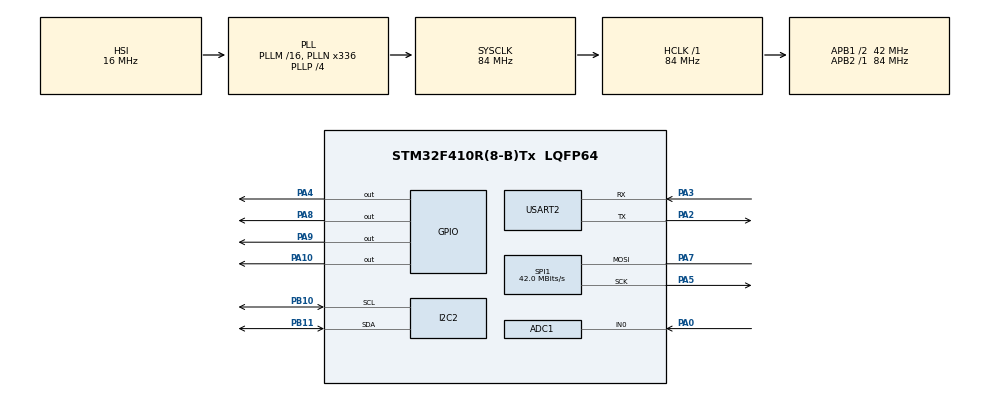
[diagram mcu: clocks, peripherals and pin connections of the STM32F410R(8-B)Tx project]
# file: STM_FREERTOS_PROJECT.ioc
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ADC1.Channel-0\#ChannelRegularConversion=ADC_CHANNEL_0
ADC1.NbrOfConversionFlag=1
ADC1.Rank-0\#ChannelRegularConversion=1
ADC1.SamplingTime-0\#ChannelRegularConversion=ADC_SAMPLETIME_3CYCLES
ADC1.master=1
FREERTOS.Tasks01=defaultTask,24,128,StartDefaultTask,Default,NULL,Dynamic,NULL,NULL
FREERTOS.configTOTAL_HEAP_SIZE=8192
FREERTOS.configUSE_NEWLIB_REENTRANT=1
Mcu.Family=STM32F4
Mcu.Name=STM32F410R(8-B)Tx
Mcu.Package=LQFP64
NVIC.PriorityGroup=NVIC_PRIORITYGROUP_4
NVIC.TIM6_DAC_IRQn=true\:15\:0\:false\:false\:true\:false\:false\:true\:true
NVIC.TimeBase=TIM6_DAC_IRQn
NVIC.TimeBaseIP=TIM6
PA0-WKUP.Signal=ADCx_IN0
PA10.Signal=GPIO_Output
PA13.GPIO_Label=TMS
PA13.Mode=Serial_Wire
PA13.Signal=SYS_JTMS-SWDIO
PA14.GPIO_Label=TCK
PA14.Mode=Serial_Wire
PA14.Signal=SYS_JTCK-SWCLK
PA2.Mode=Asynchronous
PA2.Signal=USART2_TX
PA3.Mode=Asynchronous
PA3.Signal=USART2_RX
PA4.Signal=GPIO_Output
PA5.Mode=Simplex_Bidirectional_Master
PA5.Signal=SPI1_SCK
PA6.Signal=SPI1_MISO
PA7.Mode=Simplex_Bidirectional_Master
PA7.Signal=SPI1_MOSI
PA8.Signal=GPIO_Output
PA9.Signal=GPIO_Output
PB10.Mode=I2C
PB10.Signal=I2C2_SCL
PB11.Mode=I2C
PB11.Signal=I2C2_SDA
PB3.GPIO_Label=SWO
PB3.Signal=SYS_JTDO-SWO
PC14-OSC32_IN.Mode=LSE-External-Oscillator
PC14-OSC32_IN.Signal=RCC_OSC32_IN
PC15-OSC32_OUT.Mode=LSE-External-Oscillator
PC15-OSC32_OUT.Signal=RCC_OSC32_OUT
PH0\ -\ OSC_IN.Mode=HSE-External-Clock-Source
PH0\ -\ OSC_IN.Signal=RCC_OSC_IN
PH1\ -\ OSC_OUT.Mode=HSE-External-Clock-Source
PH1\ -\ OSC_OUT.Signal=RCC_OSC_OUT
ProjectManager.HeapSize=0x200
ProjectManager.StackSize=0x400
ProjectManager.TargetToolchain=STM32CubeIDE
RCC.48MHZClocksFreq_Value=84000000
RCC.AHBFreq_Value=84000000
RCC.APB1CLKDivider=RCC_HCLK_DIV2
RCC.APB1Freq_Value=42000000
RCC.APB1TimFreq_Value=84000000
RCC.APB2Freq_Value=84000000
RCC.APB2TimFreq_Value=84000000
RCC.CortexFreq_Value=84000000
RCC.FLatency-AdvancedSettings=FLASH_LATENCY_2
RCC.HCLKFreq_Value=84000000
RCC.HSE_VALUE=8000000
RCC.HSI_VALUE=16000000
RCC.PLLN=336
RCC.PLLP=RCC_PLLP_DIV4
RCC.SYSCLKFreq_VALUE=84000000
RCC.SYSCLKSource=RCC_SYSCLKSOURCE_PLLCLK
RCC.VCOOutputFreq_Value=336000000
SH.ADCx_IN0.0=ADC1_IN0,IN0
SPI1.CalculateBaudRate=42.0 MBits/s
SPI1.Direction=SPI_DIRECTION_1LINE
SPI1.Mode=SPI_MODE_MASTER
SPI1.VirtualType=VM_MASTER
USART2.VirtualMode=VM_ASYNC
VP_FREERTOS_VS_CMSIS_V2.Mode=CMSIS_V2
VP_RTC_VS_RTC_Activate.Mode=RTC_Enabled
VP_SYS_VS_tim6.Mode=TIM6
VP_TIM11_VS_ClockSourceINT.Mode=Enable_Timer
board=NUCLEO-F410RB

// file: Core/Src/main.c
/* USER CODE BEGIN Header */
/**
  ******************************************************************************
  * @file           : main.c
  * @brief          : Main program body
  ******************************************************************************
  * @attention
  *
  * Copyright (c) 2026 STMicroelectronics.
  * All rights reserved.
  *
  * This software is licensed under terms that can be found in the LICENSE file
  * in the root directory of this software component.
  * If no LICENSE file comes with this software, it is provided AS-IS.
  *
  ******************************************************************************
  */
/* USER CODE END Header */
#include "main.h"
#include "cmsis_os.h"

/* USER CODE BEGIN Includes */
#include"bmp.h"
#include"bsp_lcd.h"
#include "dht.h"
#include"MQ135.h"
#include"rtc.h"
#include "FreeRTOS.h"
#include "queue.h"
#include "task.h"
#include<stdbool.h>
#include <stdio.h>
#include <string.h>
/* USER CODE END Includes */

/* USER CODE BEGIN PM */

typedef struct {
    uint8_t hr, min, sec;
    int32_t pressure;
    int32_t ppm;
    uint8_t temp;
    uint8_t humidity;
} SystemData_t;

SystemData_t gData;
osMutexId_t dataMutex;
/* USER CODE END PM */

ADC_HandleTypeDef hadc1;

I2C_HandleTypeDef hi2c2;

RTC_HandleTypeDef hrtc;

SPI_HandleTypeDef hspi1;

TIM_HandleTypeDef htim11;

UART_HandleTypeDef huart2;

/* Definitions for defaultTask */
osThreadId_t defaultTaskHandle;
const osThreadAttr_t defaultTask_attributes = {
  .name = "defaultTask",
  .stack_size = 256 * 4,
  .priority = (osPriority_t) osPriorityNormal,
};
/* USER CODE BEGIN PV */

osThreadId_t Task1_Handle;
  const osThreadAttr_t Task1_Handle_attributes = {
    .name = "Task1",
    .stack_size = 256 * 4,
    .priority = (osPriority_t) osPriorityBelowNormal,
  };

osThreadId_t Task2_Handle;
  const osThreadAttr_t Task2_Handle_attributes = {
    .name = "Task2",
    .stack_size = 128 * 4,
    .priority = (osPriority_t) osPriorityNormal,
  };

  osThreadId_t Task3_Handle;
  const osThreadAttr_t Task3_Handle_attributes = {
    .name = "Task3",
    .stack_size = 128 * 4,
    .priority = (osPriority_t)  osPriorityBelowNormal,
  };

  osThreadId_t Task4_Handle;
  const osThreadAttr_t Task4_Handle_attributes = {
    .name = "Task4",
    .stack_size = 246 * 4,
    .priority = (osPriority_t) osPriorityAboveNormal,
  };

  osThreadId_t Task5_Handle;
  const osThreadAttr_t Task5_Handle_attributes = {
    .name = "Task5",
    .stack_size = 512 * 4,
    .priority = (osPriority_t) osPriorityNormal,
  };
/* USER CODE END PV */

void SystemClock_Config(void);
static void MX_GPIO_Init(void);
static void MX_USART2_UART_Init(void);
static void MX_ADC1_Init(void);
static void MX_I2C2_Init(void);
static void MX_RTC_Init(void);
static void MX_SPI1_Init(void);
static void MX_TIM11_Init(void);
void StartDefaultTask(void *argument);

/* USER CODE BEGIN PFP */
void Task_DHT(void *argument);
void Task_BMP(void *argument);
void Task_MQ135(void *argument);
void Task_RTC(void *argument);
void Task_LCD(void *argument);
/* USER CODE END PFP */

int main(void)
{

  /* MCU Configuration--------------------------------------------------------*/

  /* Reset of all peripherals, Initializes the Flash interface and the Systick. */
  HAL_Init();

  /* Configure the system clock */
  SystemClock_Config();

  /* Initialize all configured peripherals */
  MX_GPIO_Init();
  MX_USART2_UART_Init();
  MX_ADC1_Init();
  MX_I2C2_Init();
  MX_RTC_Init();
  MX_SPI1_Init();
  MX_TIM11_Init();
  /* USER CODE BEGIN 2 */
  HAL_TIM_Base_Start(&htim11);

  /* USER CODE END 2 */
  /* Init scheduler */
  osKernelInitialize();

  /* USER CODE BEGIN RTOS_MUTEX */
  /* add mutexes, ... */
  // Create mutex AFTER kernel init
  dataMutex = osMutexNew(NULL);
  if (dataMutex == NULL) Error_Handler();

  /* USER CODE END RTOS_MUTEX */

  /* Create the thread(s) */
  /* creation of defaultTask */
  defaultTaskHandle = osThreadNew(StartDefaultTask, NULL, &defaultTask_attributes);

  /* USER CODE BEGIN RTOS_THREADS */
  /* add threads, ... */
  Task1_Handle = osThreadNew(Task_DHT, NULL, &Task1_Handle_attributes);
  Task2_Handle = osThreadNew(Task_BMP, NULL, &Task2_Handle_attributes);
  Task3_Handle = osThreadNew(Task_MQ135, NULL, &Task3_Handle_attributes);
  Task4_Handle = osThreadNew(Task_RTC, NULL, &Task4_Handle_attributes);
  Task5_Handle = osThreadNew(Task_LCD, NULL, &Task5_Handle_attributes);

  /* USER CODE END RTOS_THREADS */

  /* Start scheduler */
  osKernelStart();

  /* We should never get here as control is now taken by the scheduler */

  /* Infinite loop */
  while (1)
  {

  }
}

void SystemClock_Config(void)
{
  RCC_OscInitTypeDef RCC_OscInitStruct = {0};
  RCC_ClkInitTypeDef RCC_ClkInitStruct = {0};

  /** Configure the main internal regulator output voltage
  */
  __HAL_RCC_PWR_CLK_ENABLE();
  __HAL_PWR_VOLTAGESCALING_CONFIG(PWR_REGULATOR_VOLTAGE_SCALE1);

  /** Initializes the RCC Oscillators according to the specified parameters
  * in the RCC_OscInitTypeDef structure.
  */
  RCC_OscInitStruct.OscillatorType = RCC_OSCILLATORTYPE_HSI|RCC_OSCILLATORTYPE_LSI;
  RCC_OscInitStruct.HSIState = RCC_HSI_ON;
  RCC_OscInitStruct.HSICalibrationValue = RCC_HSICALIBRATION_DEFAULT;
  RCC_OscInitStruct.LSIState = RCC_LSI_ON;
  RCC_OscInitStruct.PLL.PLLState = RCC_PLL_ON;
  RCC_OscInitStruct.PLL.PLLSource = RCC_PLLSOURCE_HSI;
  RCC_OscInitStruct.PLL.PLLM = 16;
  RCC_OscInitStruct.PLL.PLLN = 336;
  RCC_OscInitStruct.PLL.PLLP = RCC_PLLP_DIV4;
  RCC_OscInitStruct.PLL.PLLQ = 4;
  RCC_OscInitStruct.PLL.PLLR = 2;
  if (HAL_RCC_OscConfig(&RCC_OscInitStruct) != HAL_OK)
  {
    Error_Handler();
  }

  /** Initializes the CPU, AHB and APB buses clocks
  */
  RCC_ClkInitStruct.ClockType = RCC_CLOCKTYPE_HCLK|RCC_CLOCKTYPE_SYSCLK
                              |RCC_CLOCKTYPE_PCLK1|RCC_CLOCKTYPE_PCLK2;
  RCC_ClkInitStruct.SYSCLKSource = RCC_SYSCLKSOURCE_PLLCLK;
  RCC_ClkInitStruct.AHBCLKDivider = RCC_SYSCLK_DIV1;
  RCC_ClkInitStruct.APB1CLKDivider = RCC_HCLK_DIV2;
  RCC_ClkInitStruct.APB2CLKDivider = RCC_HCLK_DIV1;

  if (HAL_RCC_ClockConfig(&RCC_ClkInitStruct, FLASH_LATENCY_2) != HAL_OK)
  {
    Error_Handler();
  }
}

static void MX_ADC1_Init(void)
{

  ADC_ChannelConfTypeDef sConfig = {0};

  /** Configure the global features of the ADC (Clock, Resolution, Data Alignment and number of conversion)
  */
  hadc1.Instance = ADC1;
  hadc1.Init.ClockPrescaler = ADC_CLOCK_SYNC_PCLK_DIV4;
  hadc1.Init.Resolution = ADC_RESOLUTION_12B;
  hadc1.Init.ScanConvMode = DISABLE;
  hadc1.Init.ContinuousConvMode = DISABLE;
  hadc1.Init.DiscontinuousConvMode = DISABLE;
  hadc1.Init.ExternalTrigConvEdge = ADC_EXTERNALTRIGCONVEDGE_NONE;
  hadc1.Init.ExternalTrigConv = ADC_SOFTWARE_START;
  hadc1.Init.DataAlign = ADC_DATAALIGN_RIGHT;
  hadc1.Init.NbrOfConversion = 1;
  hadc1.Init.DMAContinuousRequests = DISABLE;
  hadc1.Init.EOCSelection = ADC_EOC_SINGLE_CONV;
  if (HAL_ADC_Init(&hadc1) != HAL_OK)
  {
    Error_Handler();
  }

  /** Configure for the selected ADC regular channel its corresponding rank in the sequencer and its sample time.
  */
  sConfig.Channel = ADC_CHANNEL_0;
  sConfig.Rank = 1;
  sConfig.SamplingTime = ADC_SAMPLETIME_3CYCLES;
  if (HAL_ADC_ConfigChannel(&hadc1, &sConfig) != HAL_OK)
  {
    Error_Handler();
  }

}

static void MX_I2C2_Init(void)
{

  hi2c2.Instance = I2C2;
  hi2c2.Init.ClockSpeed = 100000;
  hi2c2.Init.DutyCycle = I2C_DUTYCYCLE_2;
  hi2c2.Init.OwnAddress1 = 0;
  hi2c2.Init.AddressingMode = I2C_ADDRESSINGMODE_7BIT;
  hi2c2.Init.DualAddressMode = I2C_DUALADDRESS_DISABLE;
  hi2c2.Init.OwnAddress2 = 0;
  hi2c2.Init.GeneralCallMode = I2C_GENERALCALL_DISABLE;
  hi2c2.Init.NoStretchMode = I2C_NOSTRETCH_DISABLE;
  if (HAL_I2C_Init(&hi2c2) != HAL_OK)
  {
    Error_Handler();
  }

}

static void MX_RTC_Init(void)
{

  /** Initialize RTC Only
  */
  hrtc.Instance = RTC;
  hrtc.Init.HourFormat = RTC_HOURFORMAT_24;
  hrtc.Init.AsynchPrediv = 127;
  hrtc.Init.SynchPrediv = 255;
  hrtc.Init.OutPut = RTC_OUTPUT_DISABLE;
  hrtc.Init.OutPutPolarity = RTC_OUTPUT_POLARITY_HIGH;
  hrtc.Init.OutPutType = RTC_OUTPUT_TYPE_OPENDRAIN;
  if (HAL_RTC_Init(&hrtc) != HAL_OK)
  {
    Error_Handler();
  }

}

static void MX_SPI1_Init(void)
{

  /* SPI1 parameter configuration*/
  hspi1.Instance = SPI1;
  hspi1.Init.Mode = SPI_MODE_MASTER;
  hspi1.Init.Direction = SPI_DIRECTION_2LINES;
  hspi1.Init.DataSize = SPI_DATASIZE_8BIT;
  hspi1.Init.CLKPolarity = SPI_POLARITY_LOW;
  hspi1.Init.CLKPhase = SPI_PHASE_1EDGE;
  hspi1.Init.NSS = SPI_NSS_SOFT;
  hspi1.Init.BaudRatePrescaler = SPI_BAUDRATEPRESCALER_8;
  hspi1.Init.FirstBit = SPI_FIRSTBIT_MSB;
  hspi1.Init.TIMode = SPI_TIMODE_DISABLE;
  hspi1.Init.CRCCalculation = SPI_CRCCALCULATION_DISABLE;
  hspi1.Init.CRCPolynomial = 15;
  if (HAL_SPI_Init(&hspi1) != HAL_OK)
  {
    Error_Handler();
  }

}

static void MX_TIM11_Init(void)
{

  htim11.Instance = TIM11;
  htim11.Init.Prescaler = 84-1;
  htim11.Init.CounterMode = TIM_COUNTERMODE_UP;
  htim11.Init.Period = 65535;
  htim11.Init.ClockDivision = TIM_CLOCKDIVISION_DIV1;
  htim11.Init.AutoReloadPreload = TIM_AUTORELOAD_PRELOAD_DISABLE;
  if (HAL_TIM_Base_Init(&htim11) != HAL_OK)
  {
    Error_Handler();
  }

}

static void MX_USART2_UART_Init(void)
{

  huart2.Instance = USART2;
  huart2.Init.BaudRate = 115200;
  huart2.Init.WordLength = UART_WORDLENGTH_8B;
  huart2.Init.StopBits = UART_STOPBITS_1;
  huart2.Init.Parity = UART_PARITY_NONE;
  huart2.Init.Mode = UART_MODE_TX_RX;
  huart2.Init.HwFlowCtl = UART_HWCONTROL_NONE;
  huart2.Init.OverSampling = UART_OVERSAMPLING_16;
  if (HAL_UART_Init(&huart2) != HAL_OK)
  {
    Error_Handler();
  }

}

static void MX_GPIO_Init(void)
{
  GPIO_InitTypeDef GPIO_InitStruct = {0};

  /* GPIO Ports Clock Enable */
  __HAL_RCC_GPIOC_CLK_ENABLE();
  __HAL_RCC_GPIOH_CLK_ENABLE();
  __HAL_RCC_GPIOA_CLK_ENABLE();
  __HAL_RCC_GPIOB_CLK_ENABLE();

  /*Configure GPIO pin Output Level */
  HAL_GPIO_WritePin(GPIOA, GPIO_PIN_4|GPIO_PIN_8|GPIO_PIN_9|GPIO_PIN_10, GPIO_PIN_RESET);

  /*Configure GPIO pins : PA4 PA8 PA9 PA10 */
  GPIO_InitStruct.Pin = GPIO_PIN_4|GPIO_PIN_9|GPIO_PIN_10;
  GPIO_InitStruct.Mode = GPIO_MODE_OUTPUT_PP;
  GPIO_InitStruct.Pull = GPIO_NOPULL;
  GPIO_InitStruct.Speed = GPIO_SPEED_FREQ_LOW;
  HAL_GPIO_Init(GPIOA, &GPIO_InitStruct);

  /* USER CODE BEGIN MX_GPIO_Init_2 */
  GPIO_InitStruct.Pin = GPIO_PIN_8;
    GPIO_InitStruct.Mode = GPIO_MODE_OUTPUT_PP; // <--- Open Drain
    GPIO_InitStruct.Pull = GPIO_PULLUP;
    HAL_GPIO_Init(GPIOA, &GPIO_InitStruct);
  /* USER CODE END MX_GPIO_Init_2 */
}

/* USER CODE BEGIN 4 */
void Task_DHT(void *argument)
{
    DHT11_Init();
    uint8_t temp = 0, humidity = 0;

    // Save the original priority (BelowNormal) to restore it later
    osPriority_t normalPriority = osThreadGetPriority(Task1_Handle);

    for(;;)
    {
        // 1. Boost priority to prevent other tasks from interrupting the timing
        osThreadSetPriority(Task1_Handle, osPriorityRealtime);

        // 2. Call the updated Read function (defined below)
        int8_t status1 = DHT11_ReadData(GPIO_PIN_8, &temp, &humidity);

        // 3. Immediately lower priority back to let other tasks run
        osThreadSetPriority(Task1_Handle, normalPriority);

        if (status1 == 0) // Success
        {
            osMutexAcquire(dataMutex, osWaitForever);
            gData.temp = temp;
            gData.humidity = humidity;
            osMutexRelease(dataMutex);
        }
        else
        {
            // Optional: Set to 0 or leave previous value if read fails
            // gData.temp = 0;
        }

        // DHT11 needs at least 2 seconds between reads to remain stable
        vTaskDelay(pdMS_TO_TICKS(2000));
    }
}
void Task_RTC(void *argument)
{
    uint8_t h, m, s, d, mo, y;

    for(;;)
    {
        rtc_get_time_date(&h, &m, &s, &d, &mo, &y);

        osMutexAcquire(dataMutex, osWaitForever);
        gData.hr = h;
        gData.min = m;
        gData.sec = s;
        osMutexRelease(dataMutex);

        vTaskDelay(pdMS_TO_TICKS(1000));
    }
}
void Task_BMP(void *argument)
{
    int32_t temp_adc, pressure_adc;
    int32_t comp_temp, comp_pressure, comp_alt;
      BMP_Init();
    for(;;)
    {
        BMP_ReadData(&temp_adc, &pressure_adc);
        BMP_ProcessData(temp_adc, pressure_adc, &comp_temp, &comp_pressure, &comp_alt);

        osMutexAcquire(dataMutex, osWaitForever);
        gData.pressure = comp_pressure;
        osMutexRelease(dataMutex);

        vTaskDelay(pdMS_TO_TICKS(1000));
    }
}

void Task_MQ135(void *argument)
{
    int32_t ppm, sum;

    for(;;)
    {
        sum = 0;
        for(int i = 0; i < 10; i++)
        {
            MQ135_Read(&ppm);
            sum += ppm;
            vTaskDelay(pdMS_TO_TICKS(50));
        }

        osMutexAcquire(dataMutex, osWaitForever);
        gData.ppm = sum / 10;
        osMutexRelease(dataMutex);

        vTaskDelay(pdMS_TO_TICKS(1000));
    }
}

void Task_LCD(void *argument)
{
    // 1. COLORS (RGB888 format as expected by your bsp_lcd_convert_rgb888_to_rgb666)
    const uint32_t BG_COLOR     = 0x800000; // Dark Red
    const uint32_t TEXT_COLOR   = 0xFFFFFF; // White
    const uint32_t LABEL_COLOR  = 0x00FFFF; // Cyan
    const uint32_t VALUE_COLOR  = 0x00FF00; // Green

    char buffer[32];
    SystemData_t localCopy = {0};
    SystemData_t prevData = {0};
    static uint16_t pos = 0;

    // 2. INITIALIZATION
    BSP_LCD_Init();
    // Fill background (Uses your optimized rect fill)
    bsp_lcd_set_background_color(BG_COLOR);

    // 3. DRAW STATIC UI (Only once)
    bsp_lcd_draw_string(30, 10, "ENV MONITOR", &Font24, LABEL_COLOR, BG_COLOR);
    bsp_lcd_fill_rect(0xFFFFFF, 10, 220, 45, 2); // Separator line

    bsp_lcd_draw_string(10, 60,  "Time :", &Font24, TEXT_COLOR, BG_COLOR);
    bsp_lcd_draw_string(10, 110, "Press:", &Font24, TEXT_COLOR, BG_COLOR);
    bsp_lcd_draw_string(10, 160, "Air  :", &Font24, TEXT_COLOR, BG_COLOR);
    bsp_lcd_draw_string(10, 210, "Temp :", &Font24, TEXT_COLOR, BG_COLOR);
    bsp_lcd_draw_string(10, 260, "Hum  :", &Font24, TEXT_COLOR, BG_COLOR);

    for(;;)
    {
        // 4. FETCH DATA
        bool dataValid = false;
        if(osMutexAcquire(dataMutex, pdMS_TO_TICKS(20)) == osOK)
        {
            localCopy = gData;
            osMutexRelease(dataMutex);
            dataValid = true;
        }

        // 5. UPDATE VALUES (Only if data is new and changed)
        if(dataValid && (memcmp(&localCopy, &prevData, sizeof(SystemData_t)) != 0))
        {
            // Note: We use trailing spaces in snprintf to clear old characters
            // without calling fill_rect, which prevents flickering.

            // TIME
            snprintf(buffer, sizeof(buffer), "%02d:%02d:%02d",
                     localCopy.hr, localCopy.min, localCopy.sec);
            bsp_lcd_draw_string(140, 60, buffer, &Font24, VALUE_COLOR, BG_COLOR);

            // PRESSURE
            snprintf(buffer, sizeof(buffer), "%ld Pa  ", localCopy.pressure);
            bsp_lcd_draw_string(140, 110, buffer, &Font24, TEXT_COLOR, BG_COLOR);

            // AIR (Conditional Color)
            uint32_t airColor = (localCopy.ppm > 400) ? 0xFF0000 : 0x00FF00;
            snprintf(buffer, sizeof(buffer), "%ld ppm  ", localCopy.ppm);
            bsp_lcd_draw_string(140, 160, buffer, &Font24, airColor, BG_COLOR);

            // TEMP
            snprintf(buffer, sizeof(buffer), "%d C  ", localCopy.temp);
            bsp_lcd_draw_string(140, 210, buffer, &Font24, 0xFFFF00, BG_COLOR);

            // HUMIDITY
            snprintf(buffer, sizeof(buffer), "%d %%  ", localCopy.humidity);
            bsp_lcd_draw_string(140, 260, buffer, &Font24, 0x00FFFF, BG_COLOR);

            prevData = localCopy;
        }

        // 6. ANIMATION (Bottom bar)
        uint16_t anim_x = 10;
        uint16_t anim_y = 290;
        uint16_t anim_w = 220;
        uint16_t anim_h = 8;
        uint16_t bar_w  = 20;

        // Clear the old bar position by drawing background over it
        bsp_lcd_fill_rect(BG_COLOR, anim_x + pos, bar_w, anim_y, anim_h);

        // Calculate new position
        pos += 10;
        if(pos > (anim_w - bar_w))
        {
            pos = 0;
        }

        // Draw new bar position
        bsp_lcd_fill_rect(0x00FFFF, anim_x + pos, bar_w, anim_y, anim_h);

        // RTOS Delay - 100ms for ~10 FPS animation
        osDelay(100);
    }
}

/* USER CODE END 4 */

void StartDefaultTask(void *argument)
{
  for(;;)
  {
    osDelay(1);
  }
}

void HAL_TIM_PeriodElapsedCallback(TIM_HandleTypeDef *htim)
{
  if (htim->Instance == TIM6)
  {
    HAL_IncTick();
  }
}

void Error_Handler(void)
{
  __disable_irq();
  while (1)
  {
  }
}
